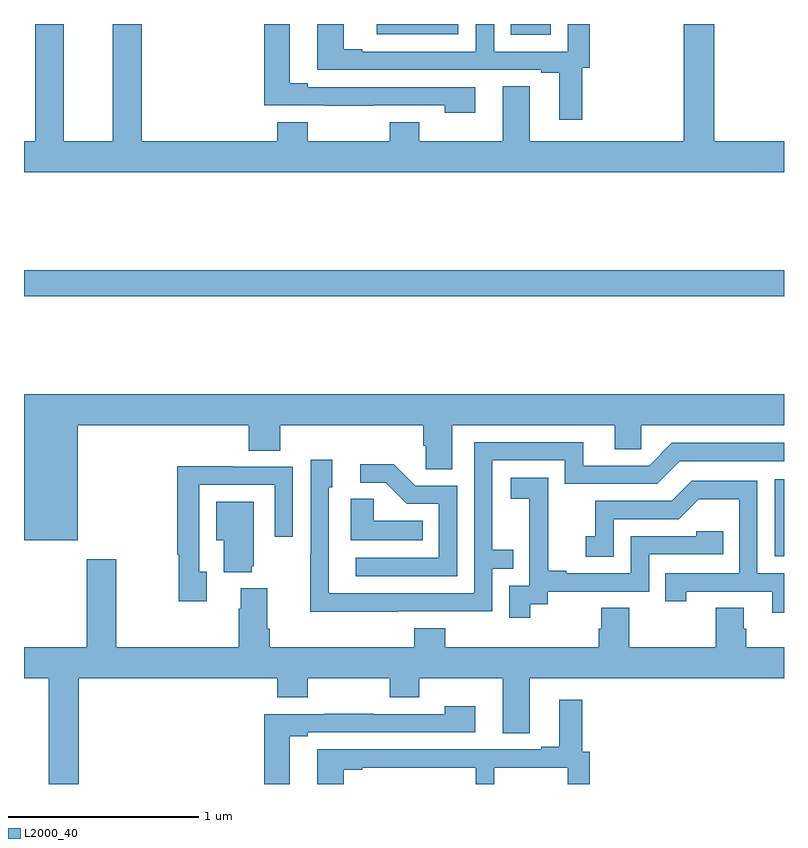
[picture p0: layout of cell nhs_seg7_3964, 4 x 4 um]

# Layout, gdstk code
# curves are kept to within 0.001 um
import gdstk
lib = gdstk.Library(unit=1e-6, precision=1e-09)
def R(c, l, rs):  # rectangles x0, y0, x1, y1
    for r in rs: c.add(gdstk.rectangle(r[:2], r[2:], *l))
def P(c, l, *ps):  # polygons
    for p in ps: c.add(gdstk.Polygon(p, *l))
L2000_40 = (2000, 40)

nhs_seg7_3964 = lib.new_cell('nhs_seg7_3964')
R(nhs_seg7_3964, L2000_40, [(364.95,1061.199,365,1061.605), (361,1062.568,365,1062.704), (363.563,1063.943,363.772,1064), (362.856,1063.946,363.286,1064)])
P(nhs_seg7_3964, L2000_40, [(365,1063.384),(364.632,1063.384),(364.632,1064),(364.472,1064),(364.472,1063.384),(363.661,1063.384),(363.661,1063.673),(363.521,1063.673),(363.521,1063.384),(363.081,1063.384),(363.081,1063.483),(362.926,1063.483),(362.926,1063.384),(362.493,1063.384),(362.493,1063.483),(362.333,1063.483),(362.333,1063.384),(361.619,1063.384),(361.619,1064),(361.466,1064),(361.466,1063.384),(361.21,1063.384),(361.21,1064),(361.058,1064),(361.058,1063.384),(361,1063.384),(361,1063.22),(365,1063.22)],
  [(363.937,1063.77),(363.977,1063.77),(363.977,1064),(363.861,1064),(363.861,1063.854),(363.474,1063.854),(363.474,1064),(363.378,1064),(363.378,1063.854),(362.779,1063.854),(362.779,1063.867),(362.683,1063.867),(362.683,1064),(362.543,1064),(362.543,1063.758),(363.722,1063.758),(363.722,1063.743),(363.818,1063.743),(363.818,1063.497),(363.937,1063.497)],
  [(363.376,1063.668),(362.494,1063.668),(362.494,1063.688),(362.398,1063.688),(362.398,1064),(362.264,1064),(362.264,1063.572),(362.581,1063.572),(362.581,1063.571),(362.837,1063.571),(362.837,1063.572),(363.215,1063.572),(363.215,1063.532),(363.376,1063.532)],
  [(361,1061.282),(361.282,1061.282),(361.282,1061.888),(362.183,1061.888),(362.183,1061.755),(362.348,1061.755),(362.348,1061.888),(363.101,1061.888),(363.101,1061.779),(363.114,1061.779),(363.114,1061.656),(363.253,1061.656),(363.253,1061.888),(364.109,1061.888),(364.109,1061.761),(364.248,1061.761),(364.248,1061.888),(365,1061.888),(365,1062.052),(361,1062.052)],
  [(362.969,1060.908),(363.465,1060.908),(363.465,1061.133),(363.575,1061.133),(363.575,1061.234),(363.465,1061.234),(363.465,1061.703),(363.846,1061.703),(363.846,1061.58),(364.332,1061.58),(364.452,1061.7),(365,1061.7),(365,1061.796),(364.41,1061.796),(364.29,1061.676),(363.943,1061.676),(363.943,1061.799),(363.369,1061.799),(363.369,1061.004),(362.604,1061.004),(362.604,1061.562),(362.623,1061.562),(362.623,1061.707),(362.508,1061.707),(362.508,1061.213),(362.506,1061.213),(362.506,1060.907)],
  [(363.279,1061.571),(363.06,1061.571),(362.947,1061.684),(362.769,1061.684),(362.769,1061.586),(362.903,1061.586),(363.014,1061.475),(363.183,1061.475),(363.183,1061.19),(362.745,1061.19),(362.745,1061.094),(363.279,1061.094)],
  [(361.963,1061.118),(361.923,1061.118),(361.923,1061.574),(362.319,1061.574),(362.319,1061.301),(362.415,1061.301),(362.415,1061.67),(362.099,1061.67),(362.099,1061.672),(361.807,1061.672),(361.807,1061.206),(361.815,1061.206),(361.815,1060.962),(361.963,1060.962)],
  [(363.664,1060.945),(363.756,1060.945),(363.756,1061.013),(364.29,1061.013),(364.29,1061.208),(364.679,1061.208),(364.679,1061.331),(364.539,1061.331),(364.539,1061.304),(364.194,1061.304),(364.194,1061.109),(363.853,1061.109),(363.853,1061.122),(363.758,1061.122),(363.758,1061.405),(363.759,1061.405),(363.759,1061.611),(363.561,1061.611),(363.561,1061.501),(363.659,1061.501),(363.659,1061.273),(363.66,1061.273),(363.66,1061.043),(363.555,1061.043),(363.555,1060.875),(363.664,1060.875)],
  [(365,1061.109),(364.86,1061.109),(364.86,1061.595),(364.514,1061.595),(364.409,1061.49),(364.006,1061.49),(364.006,1061.305),(363.957,1061.305),(363.957,1061.196),(364.104,1061.196),(364.104,1061.394),(364.446,1061.394),(364.55,1061.498),(364.764,1061.498),(364.764,1061.109),(364.375,1061.109),(364.375,1060.962),(364.486,1060.962),(364.486,1061.013),(364.937,1061.013),(364.937,1060.902),(365,1060.902)],
  [(363.098,1061.386),(362.841,1061.386),(362.841,1061.501),(362.72,1061.501),(362.72,1061.282),(363.098,1061.282)],
  [(362.198,1061.145),(362.209,1061.145),(362.209,1061.485),(362.012,1061.485),(362.012,1061.282),(362.051,1061.282),(362.051,1061.114),(362.198,1061.114)],
  [(361.289,1060.556),(362.333,1060.556),(362.333,1060.457),(362.493,1060.457),(362.493,1060.556),(362.926,1060.556),(362.926,1060.457),(363.081,1060.457),(363.081,1060.556),(363.521,1060.556),(363.521,1060.267),(363.661,1060.267),(363.661,1060.556),(365,1060.556),(365,1060.72),(364.802,1060.72),(364.802,1060.818),(364.789,1060.818),(364.789,1060.928),(364.642,1060.928),(364.642,1060.72),(364.185,1060.72),(364.185,1060.928),(364.037,1060.928),(364.037,1060.818),(364.025,1060.818),(364.025,1060.72),(363.218,1060.72),(363.218,1060.819),(363.053,1060.819),(363.053,1060.72),(362.294,1060.72),(362.294,1060.816),(362.281,1060.816),(362.281,1061.029),(362.141,1061.029),(362.141,1060.922),(362.129,1060.922),(362.129,1060.72),(361.485,1060.72),(361.485,1061.182),(361.33,1061.182),(361.33,1060.72),(361,1060.72),(361,1060.556),(361.129,1060.556),(361.129,1060),(361.289,1060)],
  [(362.683,1060.074),(362.779,1060.074),(362.779,1060.086),(363.378,1060.086),(363.378,1060),(363.474,1060),(363.474,1060.086),(363.861,1060.086),(363.861,1060),(363.977,1060),(363.977,1060.17),(363.937,1060.17),(363.937,1060.444),(363.818,1060.444),(363.818,1060.197),(363.722,1060.197),(363.722,1060.182),(362.543,1060.182),(362.543,1060),(362.683,1060)],
  [(362.398,1060.252),(362.494,1060.252),(362.494,1060.272),(363.376,1060.272),(363.376,1060.408),(363.215,1060.408),(363.215,1060.368),(362.837,1060.368),(362.837,1060.37),(362.581,1060.37),(362.581,1060.368),(362.264,1060.368),(362.264,1060),(362.398,1060)])

lib.write_gds('nhs_seg7_3964.gds')
